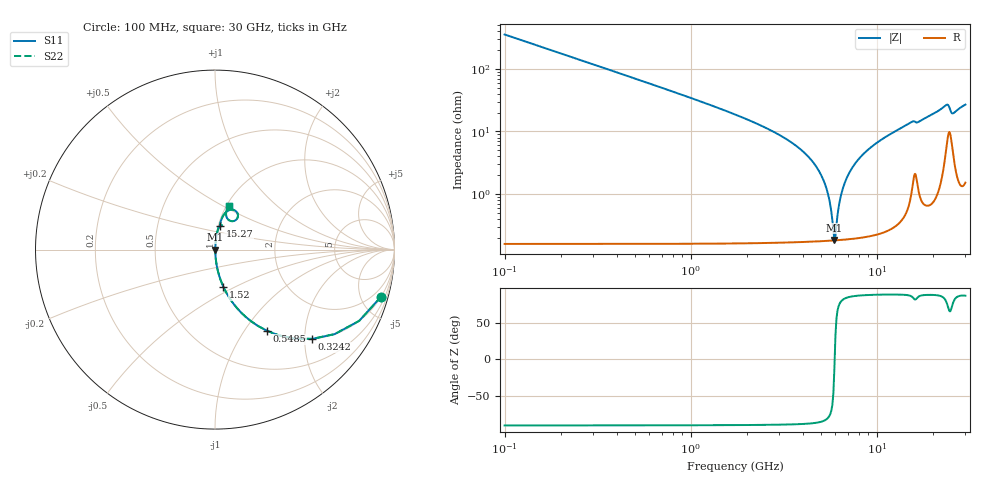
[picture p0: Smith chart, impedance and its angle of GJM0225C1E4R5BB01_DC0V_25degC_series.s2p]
!Murata Part Number: GJM0225C1E4R5BB01
!These Parameters are Measured in Series Mode Connection
!  o--ll--o
!Port1  Port2
!  o------o
!Operation Temp=25[degC], DC Bias Voltage=0[V]
!Freq. Start=100[MHz] Stop=30[GHz], 401[Steps]
!Data Generated on Feb 1, 2023
# Hz S RI R 50
!Freq.(Hz) S11(Real) S11(Imag) S21(Real) S21(Imag) S12(Real) S12(Imag) S22(Real) S22(Imag)
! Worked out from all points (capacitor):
!   401 points, 100 MHz to 30 GHz, reference 50 ohm
!   read as one part in series: C = 4.5 pF near 249.5 MHz
!   lowest |Z| = 185 mohm at 5.931 GHz (marker M1)
!   series resonance near 5.947 GHz, so ESL is about 160 pH
!   S11 on the Smith chart (normalised r, x): 100 MHz: 1.00, -7.07; 324.2 MHz: 1.00, -2.18; 548.5 MHz: 1.00, -1.28; 1.52 GHz: 1.00, -0.43; 15.27 GHz: 1.02, +0.28; 30 GHz: 1.03, +0.54
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1e8  0.9258 -0.2618  0.0742 0.2618  0.0742 0.2618  0.9258 -0.2618
3.2425e8  0.5418 -0.4975  0.4582 0.4975  0.4582 0.4975  0.5418 -0.4975
5.485e8  0.2906 -0.4528  0.7094 0.4528  0.7094 0.4528  0.2906 -0.4528
9.2225e8  0.1239 -0.3274  0.8761 0.3274  0.8761 0.3274  0.1239 -0.3274
1.52025e9  0.0466 -0.207  0.9534 0.207  0.9534 0.207  0.0466 -0.207
4.1365e9  0.00366 -0.044  0.9963 0.044  0.9963 0.044  0.00366 -0.044
5.10825e9  0.0021 -0.0181  0.9979 0.0181  0.9979 0.0181  0.0021 -0.0181
5.482e9  0.00188 -0.0097  0.9981 0.0097  0.9981 0.0097  0.00188 -0.0097
5.85575e9  0.00182 -0.00185  0.9982 0.00185  0.9982 0.00185  0.00182 -0.00185
5.9305e9  0.00182 -0.000337  0.9982 0.000337  0.9982 0.000337  0.00182 -0.000337
6.08e9  0.00183 0.00262  0.9982 -0.00262  0.9982 -0.00262  0.00183 0.00262
6.30425e9  0.00189 0.00694  0.9981 -0.00694  0.9981 -0.00694  0.00189 0.00694
6.5285e9  0.00198 0.0111  0.998 -0.0111  0.998 -0.0111  0.00198 0.0111
7.1265e9  0.00237 0.0217  0.9976 -0.0217  0.9976 -0.0217  0.00237 0.0217
8.3225e9  0.00369 0.0408  0.9963 -0.0408  0.9963 -0.0408  0.00369 0.0408
1.01165e10  0.00672 0.0666  0.9933 -0.0666  0.9933 -0.0666  0.00672 0.0666
1.505e10  0.025 0.1312  0.975 -0.1312  0.975 -0.1312  0.025 0.1312
1.527425e10  0.0275 0.1341  0.9725 -0.1341  0.9725 -0.1341  0.0275 0.1341
2.005825e10  0.0413 0.1806  0.9587 -0.1806  0.9587 -0.1806  0.0413 0.1806
2.3721e10  0.1067 0.2201  0.8933 -0.2201  0.8933 -0.2201  0.1067 0.2201
2.50665e10  0.1024 0.1588  0.8976 -0.1588  0.8976 -0.1588  0.1024 0.1588
3e10  0.0792 0.2432  0.9208 -0.2432  0.9208 -0.2432  0.0792 0.2432
